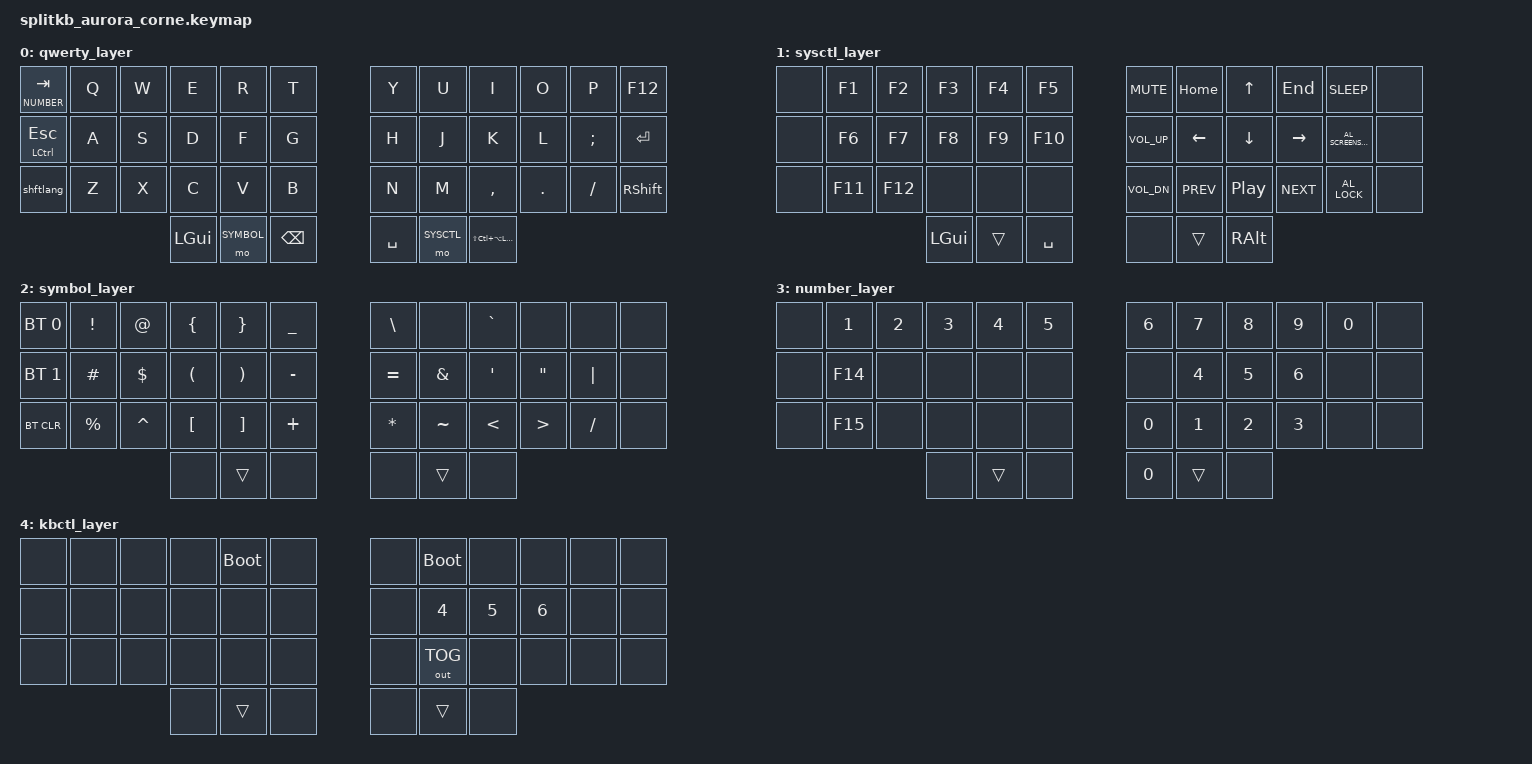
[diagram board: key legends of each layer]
#include <behaviors.dtsi>
#include <dt-bindings/zmk/keys.h>
#include <dt-bindings/zmk/bt.h>
#include <dt-bindings/zmk/outputs.h>


// layers
#define QWERTY 0
#define SYSCTL 1
#define SYMBOL 2
#define NUMBER 3
#define KBCTL  4


// keys
#define HYPER LS(LC(LA(LGUI)))


// tap dance
/ {
    behaviors {
        shftcaps: tap_dance_0 {
            compatible = "zmk,behavior-tap-dance";
            label = "TAP_DANCE_0";
            #binding-cells = <0>;
            tapping-term-ms = <200>;
            bindings = <&kp LSHFT>, <&caps_word>;
        };
        shftlang: tap_dance_1 {
            compatible = "zmk,behavior-tap-dance";
            label = "TAP_DANCE_1";
            #binding-cells = <0>;
            tapping-term-ms = <200>;
            bindings = <&kp LSHFT>, <&kp F13>;
        };
        lh_pht: left_positional_hold_tap {
            compatible = "zmk,behavior-hold-tap";
            #binding-cells = <2>;
            flavor = "tap-unless-interrupted";
            tapping-term-ms = <100>;                        // <---[[produces tap if held longer than tapping-term-ms]]
            quick-tap-ms = <200>;
            bindings = <&kp>, <&kp>;
            hold-trigger-key-positions = <5 6 7 8 9 10>;    // <---[[right-hand keys]]
        };
    };

        conditional_layers {
                compatible = "zmk,conditional-layers";
                tri_layer {
                        if-layers = <SYSCTL SYMBOL>;
                        then-layer = <KBCTL>;
                };
        };

        keymap {
                compatible = "zmk,keymap";

                qwerty_layer {
//  ┌─────────┬───┬───┬───┬───┬───┐      ┌───┬───┬───┬───┬───┬───────┐
//  │   TAB   │ Q │ W │ E │ R │ T │      │ Y │ U │ I │ O │ P │  F12  │
//  ├─────────┼───┼───┼───┼───┼───┤      ├───┼───┼───┼───┼───┼───────┤
//  │ ESC/CTL │ A │ S │ D │ F │ G │      │ H │ J │ K │ L │ : │ ENTER │
//  ├─────────┼───┼───┼───┼───┼───┤      ├───┼───┼───┼───┼───┼───────┤
//  │  SHIFT  │ Z │ X │ C │ V │ B │      │ N │ M │ , │ . │ / │ SHIFT │
//  └─────────┴┬──┴──┬┴───┴─┬─┴───┴┐   ┌─┴───┼───┴──┬┴───┴┬──┴───────┘
//             │ CMD │ SMBL │ BSPC │   │ SPC │ SYSC │ HPR │
//             └─────┴──────┴──────┘   └─────┴──────┴─────┘
                        bindings = <
   &lt NUMBER TAB  &kp Q &kp W &kp E  &kp R      &kp T       &kp Y    &kp U      &kp I      &kp O    &kp P     &kp F12
   &mt LCTRL ESC   &kp A &kp S &kp D  &kp F      &kp G       &kp H    &kp J      &kp K      &kp L    &kp SEMI  &kp ENTER
   &shftlang       &kp Z &kp X &kp C  &kp V      &kp B       &kp N    &kp M      &kp COMMA  &kp DOT  &kp FSLH  &kp RSHFT
                             &kp LGUI &mo SYMBOL &kp BSPC    &kp SPC  &mo SYSCTL &kp HYPER
                        >;
                };

                sysctl_layer {
// |  TAB |  1  |  2  |  3  |  4  |  5  |   |  6  |  7  |  8  |  9  |  0  | BKSP |
// | BTCLR| BT1 | BT2 | BT3 | BT4 | BT5 |   | LFT | DWN |  UP | RGT |     |      |
// | SHFT |     |     |     |     |     |   |     |     |     |     |     |      |
//                    | GUI |     | SPC |   | ENT |     | ALT |
                        bindings = <
   &none  &kp F1   &kp F2   &kp F3    &kp F4  &kp F5       &kp C_MUTE    &kp HOME    &kp UP            &kp END     &kp C_SLEEP           &none
   &none  &kp F6   &kp F7   &kp F8    &kp F9  &kp F10      &kp C_VOL_UP  &kp LEFT    &kp DOWN          &kp RIGHT   &kp C_AL_SCREENSAVER  &none
   &none  &kp F11  &kp F12  &none     &none   &none        &kp C_VOL_DN  &kp C_PREV  &kp C_PLAY_PAUSE  &kp C_NEXT  &kp C_AL_LOCK         &none
                            &kp LGUI  &trans  &kp SPACE    &none         &trans      &kp RALT
                        >;
                };

                symbol_layer {
// |  TAB |  1  |  2  |  3  |  4  |  5  |   |  6  |  7  |  8  |  9  |  0  | BKSP |
// | BTCLR| BT1 | BT2 | BT3 | BT4 | BT5 |   | LFT | DWN |  UP | RGT |     |      |
// | SHFT |     |     |     |     |     |   |     |     |     |     |     |      |
//                    | GUI |     | SPC |   | ENT |     | ALT |
                                // !@{}_ \ `
                                // #$()- =&'"|
                                // %^[]+ *~<>/
                        bindings = <
   &bt BT_SEL 0  &kp EXCL   &kp AT     &kp LBRC  &kp RBRC  &kp UNDER    &kp BSLH   &none      &kp GRAVE  &none    &none     &none
   &bt BT_SEL 1  &kp HASH   &kp DLLR   &kp LPAR  &kp RPAR  &kp MINUS    &kp EQUAL  &kp AMPS   &kp SQT    &kp DQT  &kp PIPE  &none
   &bt BT_CLR    &kp PRCNT  &kp CARET  &kp LBKT  &kp RBKT  &kp PLUS     &kp ASTRK  &kp TILDE  &kp LT     &kp GT   &kp FSLH  &none
                          	       &none     &trans    &none        &none      &trans     &none
                        >;
                };

                number_layer {
// |  TAB |  !  |  @  |  #  |  $  |  %  |   |  ^  |  &  |  *  |  (  |  )  | BKSP |
// | CTRL |     |     |     |     |     |   |  -  |  =  |  [  |  ]  |  \  |  `   |
// | SHFT |     |     |     |     |     |   |  _  |  +  |  {  |  }  | "|" |  ~   |
//                    | GUI |     | SPC |   | ENT |     | ALT |
                        bindings = <
   &none  &kp N1   &kp N2  &kp N3  &kp N4  &kp N5    &kp N6  &kp N7  &kp N8  &kp N9  &kp N0  &none
   &none  &kp F14  &none   &none   &none   &none     &none   &kp N4  &kp N5  &kp N6  &none   &none
   &none  &kp F15  &none   &none   &none   &none     &kp N0  &kp N1  &kp N2  &kp N3  &none   &none
                           &none   &trans  &none     &kp N0  &trans  &none
                        >;
                };

                kbctl_layer {
// |  TAB |  !  |  @  |  #  |  $  |  %  |   |  ^  |  &  |  *  |  (  |  )  | BKSP |
// | CTRL |     |     |     |     |     |   |  -  |  =  |  [  |  ]  |  \  |  `   |
// | SHFT |     |     |     |     |     |   |  _  |  +  |  {  |  }  | "|" |  ~   |
//                    | GUI |     | SPC |   | ENT |     | ALT |
                        bindings = <
   &none  &none  &none  &none  &bootloader  &none    &none  &bootloader   &none   &none   &none  &none
   &none  &none  &none  &none  &none        &none    &none  &kp N4        &kp N5  &kp N6  &none  &none
   &none  &none  &none  &none  &none        &none    &none  &out OUT_TOG  &none   &none   &none  &none
                        &none  &trans       &none    &none  &trans        &none
                        >;
                };
        };
};



// home row mods
// if kbktl works, then move bt 1 2 reset there.
// game mode

//screenshot button

// template
//  ┌──┬──┬──┬──┬──┬──┐      ┌──┬──┬──┬──┬──┬──┐
//  │  │  │  │  │  │  │      │  │  │  │  │  │  │
//  ├──┼──┼──┼──┼──┼──┤      ├──┼──┼──┼──┼──┼──┤
//  │  │  │  │  │  │  │      │  │  │  │  │  │  │
//  ├──┼──┼──┼──┼──┼──┤      ├──┼──┼──┼──┼──┼──┤
//  │  │  │  │  │  │  │      │  │  │  │  │  │  │
//  └──┴──┴──┴─┬┴─┬┴─┬┴─┐   ┌┴─┬┴─┬┴─┬┴──┴──┴──┘
//             │  │  │  │   │  │  │  │
//             └──┴──┴──┘   └──┴──┴──┘
